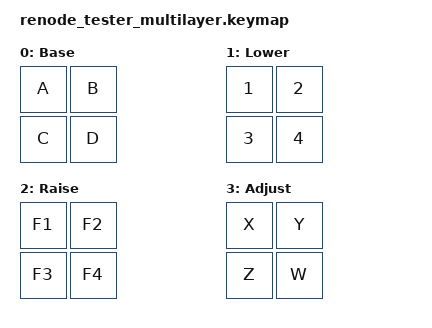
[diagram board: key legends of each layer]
#include <behaviors.dtsi>
#include <dt-bindings/zmk/keys.h>

/ {
	keymap {
		compatible = "zmk,keymap";

		default_layer {
			display-name = "Base";
			bindings = <
			&kp A &kp B
			&kp C &kp D
			>;
		};

		lower_layer {
			display-name = "Lower";
			bindings = <
			&kp N1 &kp N2
			&kp N3 &kp N4
			>;
		};

		raise_layer {
			display-name = "Raise";
			bindings = <
			&kp F1 &kp F2
			&kp F3 &kp F4
			>;
		};

		adjust_layer {
			display-name = "Adjust";
			bindings = <
			&kp X &kp Y
			&kp Z &kp W
			>;
		};
	};
};
